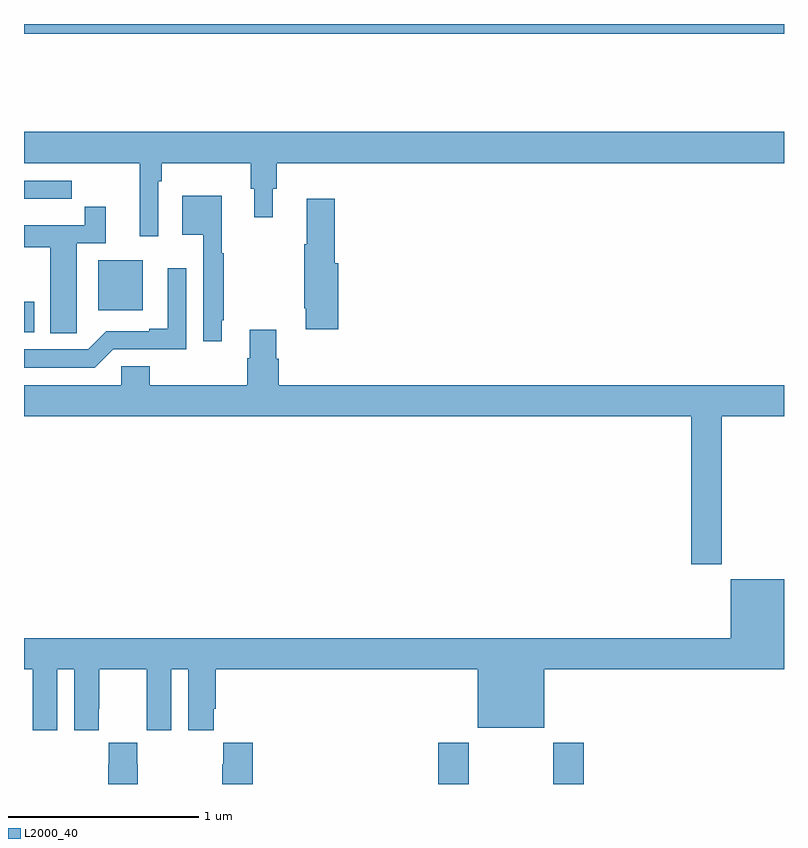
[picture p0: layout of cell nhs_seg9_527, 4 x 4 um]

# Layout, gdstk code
import gdstk
lib = gdstk.Library(unit=1e-6, precision=1e-09)
def R(c, l, rs):  # rectangles x0, y0, x1, y1
    for r in rs: c.add(gdstk.rectangle(r[:2], r[2:], *l))
def P(c, l, *ps):  # polygons
    for p in ps: c.add(gdstk.Polygon(p, *l))
L2000_40 = (2000, 40)

nhs_seg9_527 = lib.new_cell('nhs_seg9_527')
R(nhs_seg9_527, L2000_40, [(139.181,1178.5,139.341,1178.716), (139.786,1178.5,139.946,1178.716), (137,1180.877,137.053,1181.037), (137.39,1180.994,137.626,1181.257), (137,1182.448,141,1182.5)])
P(nhs_seg9_527, L2000_40, [(137.706,1181.672),(137.726,1181.672),(137.726,1181.768),(138.193,1181.768),(138.193,1181.634),(138.212,1181.634),(138.212,1181.484),(138.31,1181.484),(138.31,1181.634),(138.329,1181.634),(138.329,1181.768),(141,1181.768),(141,1181.932),(137,1181.932),(137,1181.768),(137.609,1181.768),(137.609,1181.382),(137.706,1181.382)],
  [(137.138,1181.58),(137.251,1181.58),(137.251,1181.676),(137,1181.676),(137,1181.579),(137.138,1181.579)],
  [(138.04,1180.942),(138.052,1180.942),(138.052,1181.294),(138.04,1181.294),(138.04,1181.596),(137.834,1181.596),(137.834,1181.39),(137.943,1181.39),(137.943,1180.83),(138.04,1180.83)],
  [(138.653,1181.241),(138.635,1181.241),(138.635,1181.581),(138.488,1181.581),(138.488,1181.341),(138.475,1181.341),(138.475,1181.005),(138.482,1181.005),(138.482,1180.893),(138.653,1180.893)],
  [(137.277,1180.984),(137.278,1180.984),(137.278,1181.346),(137.429,1181.346),(137.429,1181.539),(137.32,1181.539),(137.32,1181.442),(137,1181.442),(137,1181.326),(137.138,1181.326),(137.138,1180.873),(137.277,1180.873)],
  [(137.469,1180.788),(137.853,1180.788),(137.853,1181.215),(137.756,1181.215),(137.756,1180.897),(137.66,1180.897),(137.66,1180.884),(137.433,1180.884),(137.337,1180.788),(137,1180.788),(137,1180.692),(137.373,1180.692)],
  [(140.673,1180.436),(141,1180.436),(141,1180.6),(138.341,1180.6),(138.341,1180.737),(138.328,1180.737),(138.328,1180.891),(138.188,1180.891),(138.188,1180.742),(138.176,1180.742),(138.176,1180.6),(137.663,1180.6),(137.663,1180.698),(137.511,1180.698),(137.511,1180.6),(137,1180.6),(137,1180.436),(140.513,1180.436),(140.513,1179.657),(140.673,1179.657)],
  [(137,1179.104),(137.045,1179.104),(137.045,1178.896),(137.046,1178.896),(137.046,1178.784),(137.176,1178.784),(137.176,1179.104),(137.264,1179.104),(137.264,1178.784),(137.394,1178.784),(137.394,1178.896),(137.395,1178.896),(137.395,1179.104),(137.645,1179.104),(137.645,1178.896),(137.646,1178.896),(137.646,1178.784),(137.776,1178.784),(137.776,1179.104),(137.864,1179.104),(137.864,1178.784),(137.998,1178.784),(137.998,1178.896),(138.008,1178.896),(138.008,1179.104),(139.388,1179.104),(139.388,1178.795),(139.738,1178.795),(139.738,1179.104),(141,1179.104),(141,1179.577),(140.72,1179.577),(140.72,1179.268),(137,1179.268)],
  [(138.203,1178.716),(138.049,1178.716),(138.049,1178.603),(138.043,1178.603),(138.043,1178.5),(138.203,1178.5)],
  [(137.598,1178.603),(137.595,1178.603),(137.595,1178.716),(137.445,1178.716),(137.445,1178.603),(137.443,1178.603),(137.443,1178.5),(137.598,1178.5)])

lib.write_gds('nhs_seg9_527.gds')
